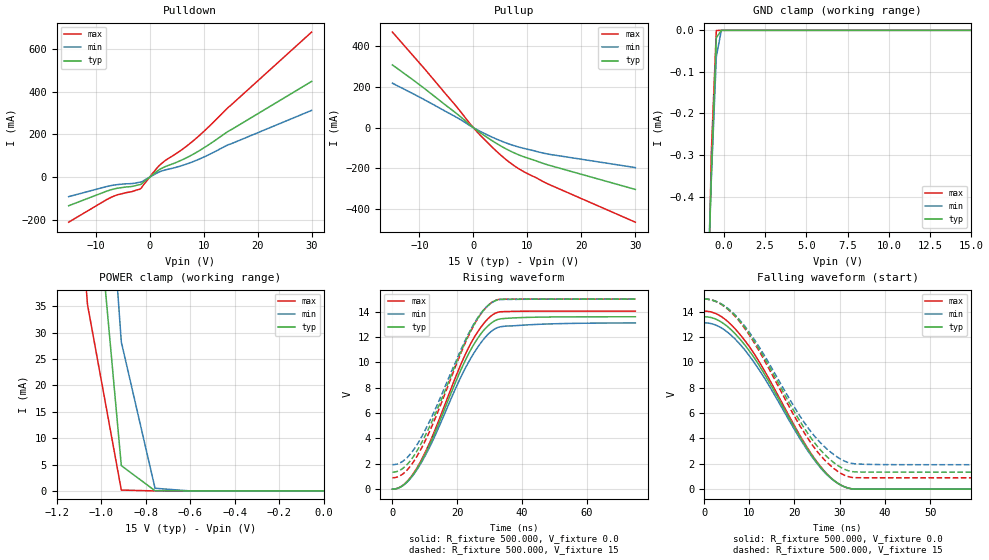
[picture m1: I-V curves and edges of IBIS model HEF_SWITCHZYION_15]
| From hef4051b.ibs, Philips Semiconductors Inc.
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|   Model HEF_SWITCHZYION_15
[Model]   HEF_SWITCHZYION_15
Model_type   I/O
Polarity   Non-Inverting
Enable   Active-High
Vinl  =  11V
Vinh  =  4V
Vmeas =  7.5V
Cref  =  50.0pF
Rref  =  10k
Vref  =  0.0V
C_comp   3.36E-12   3.01E-12   3.74E-12
|Ambient temperature:   25   85   -40
[Temperature Range]   35   95   -30
[Voltage Range]   15V   15V   15V
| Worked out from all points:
|   slope of the pulldown table from 0 to 2.25 V, typ, clamps not added: 54 ohm
|   slope of the pullup table from 0 to 2.25 V, typ, clamps not added: 52.9 ohm
|   POWER clamp passes 1 mA (typ) near -0.79 V on its own axis
|   rising waveform, R_fixture 500.000, V_fixture 0.0: 20-80 % time 13.9ns typ, 14.5ns min, 13.7ns max; typ from 0 V to 13.6 V
|   rising waveform, R_fixture 500.000, V_fixture 15: 20-80 % time 13.9ns typ, 13.9ns min, 13.7ns max; typ from 1.34 V to 15 V
|   falling waveform, R_fixture 500.000, V_fixture 0.0: 20-80 % time 13.7ns typ, 13.7ns min, 13.6ns max; typ from 13.6 V to 0 V
|   falling waveform, R_fixture 500.000, V_fixture 15: 20-80 % time 13.6ns typ, 13.6ns min, 13.5ns max; typ from 15 V to 1.34 V
|Process Range   nominal   slow   fast
[Pulldown]
| voltage   I(typ)   I(min)   I(max)
-15V      -133.7mA   -91.1mA    -210.7mA
-7V       -57.75mA   -38.56mA   -92.59mA
-6V       -51.8mA    -34.72mA   -82.71mA
-1.75V    -34.9mA    -23.54mA   -55.43mA
500mV     10.73mA    7.421mA    16.83mA
2V        38.36mA    26.84mA    59.42mA
6.25V     83.82mA    56.4mA     134mA
8.75V     117.2mA    79.91mA    184.8mA
14.5V     213.7mA    150.9mA    325.1mA
30V       448.1mA    312.5mA    678.8mA
[Pullup]
| voltage   I(typ)   I(min)   I(max)
-15V      308.6mA    218.7mA    470.1mA
-9V       191.2mA    136.4mA    287.9mA
-3V       66.99mA    48.98mA    99.42mA
500mV     -10.17mA   -7.473mA   -15.11mA
4V        -72.86mA   -52.82mA   -109mA
6.5V      -110.5mA   -79.25mA   -166.5mA
9V        -139.8mA   -99.52mA   -211.4mA
13.5V     -180.6mA   -128mA     -272.8mA
30V       -303.7mA   -196.2mA   -464.8mA
[GND_clamp]
| voltage   I(typ)   I(min)   I(max)
-15V      -12.9A     -12.95A    -12.86A
-1.061V   -768.7uA   -684.3uA   -888.5uA
-757.6mV  -350uA     -358.2uA   -294.4uA
-454.5mV  -17.8uA    -63.62uA   -391.3nA
-151.5mV  -35.5pA    -5.454nA   -68.14fA
15V       196.4fA    5.384pA    180fA
[POWER_clamp]
| voltage   I(typ)   I(min)   I(max)
-15V      11.9A      12A        11.8A
-1.212V   155.3mA    191.6mA    119.1mA
-1.061V   75.6mA     118.3mA    35.35mA
-909.1mV  4.801mA    28.24mA    161.4uA
-757.6mV  27.22uA    503.4uA    879.8nA
-606.1mV  3.667uA    20.91uA    1.275nA
0V        125.9fA    1.518pA    120fA
[Ramp]
| variable   typ   min   max
dV/dt_r   8.162/13.941E-09   7.871/14.506E-09   8.431/13.725E-09
dV/dt_f   8.163/13.650E-09   7.875/13.686E-09   8.431/13.644E-09
R_load = 500.000
[Rising Waveform]
R_fixture   = 500.000
V_fixture   = 0.0
V_fixture_min = 0.0
V_fixture_max = 0.0
| time   V(typ)   V(min)   V(max)
0s        4.114pV    28.97pV    2.466pV
3.788ns   404.5mV    384.4mV    424.9mV
7.576ns   1.608V     1.535V     1.679V
12.12ns   3.855V     3.646V     4.042V
23.49ns   10.66V     10.01V     11.15V
27.27ns   12.24V     11.54V     12.77V
31.06ns   13.21V     12.55V     13.78V
34.09ns   13.46V     12.84V     14.01V
43.94ns   13.57V     12.99V     14.05V
75ns      13.6V      13.12V     14.05V
[Rising Waveform]
R_fixture   = 500.000
V_fixture   = 15
V_fixture_min = 15
V_fixture_max = 15
| time   V(typ)   V(min)   V(max)
0s        1.341V     1.929V     897mV
3.788ns   1.759V     2.315V     1.322V
6.061ns   2.421V     2.941V     1.992V
8.333ns   3.353V     3.824V     2.939V
12.88ns   5.731V     6.113V     5.385V
23.49ns   12.16V     12.26V     12.09V
27.27ns   13.83V     13.86V     13.82V
30.3ns    14.65V     14.65V     14.67V
33.33ns   14.97V     14.96V     14.99V
75ns      15V        15V        15V
[Falling Waveform]
R_fixture   = 500.000
V_fixture   = 0.0
V_fixture_min = 0.0
V_fixture_max = 0.0
| time   V(typ)   V(min)   V(max)
0s        13.61V     13.12V     14.05V
2.273ns   13.46V     12.99V     13.9V
4.545ns   13.01V     12.56V     13.44V
9.091ns   11.35V     10.95V     11.7V
12.88ns   9.369V     9.04V      9.646V
23.49ns   2.845V     2.753V     2.912V
27.27ns   1.142V     1.11V      1.165V
30.3ns    311.5mV    308.7mV    311.5mV
33.33ns   7.189mV    10.53mV    4.069mV
75ns      467.2nV    6.145uV    3.146nV
[Falling Waveform]
R_fixture   = 500.000
V_fixture   = 15
V_fixture_min = 15
V_fixture_max = 15
| time   V(typ)   V(min)   V(max)
0s        15V        15V        15V
3.788ns   14.61V     14.63V     14.59V
8.333ns   13.09V     13.16V     13.01V
12.12ns   11.09V     11.26V     10.94V
19.7ns    6.279V     6.64V      5.944V
23.49ns   4.119V     4.607V     3.727V
26.51ns   2.797V     3.388V     2.358V
30.3ns    1.705V     2.352V     1.235V
35.61ns   1.349V     1.963V     899.9mV
75ns      1.341V     1.929V     897mV
